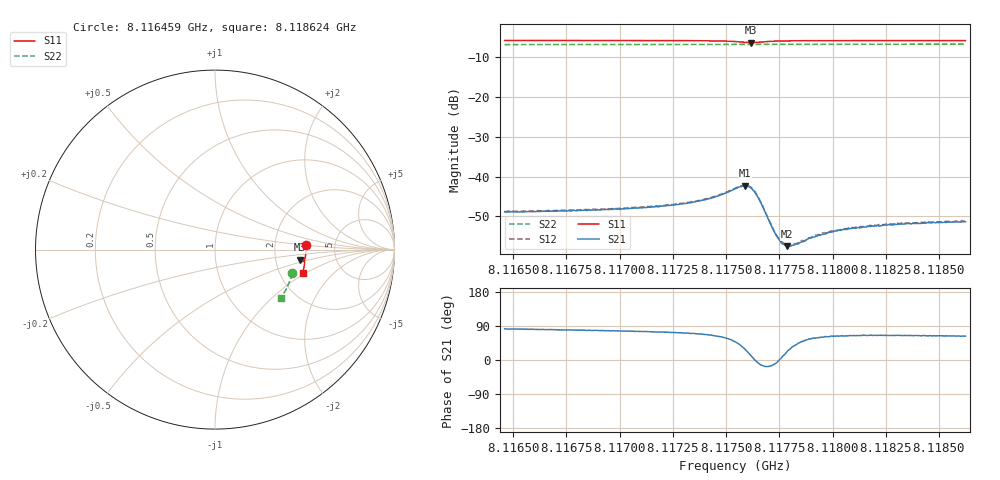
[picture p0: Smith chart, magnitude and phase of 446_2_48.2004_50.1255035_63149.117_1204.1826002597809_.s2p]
#  HZ  S  RI  R  50.00
! Rohde & Schwarz Vector Network Analyzer
! Rohde-Schwarz,ZNB20-2Port,1311601062101988,3.16
! Created: UTC 3/20/2024, 11:56:02 AM
! freq[Hz]  re:S11  im:S11  re:S21  im:S21  re:S12  im:S12  re:S22  im:S22
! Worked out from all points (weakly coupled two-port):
!   401 points, 8.116459 GHz to 8.118624 GHz, reference 50 ohm
!   highest |S21| = -42.29 dB at 8.117591 GHz (marker M1); lowest = -57.4 dB at 8.117785 GHz (marker M2)
!   lowest |S11| = -6.4 dB at 8.117618 GHz (marker M3), VSWR 2.82, Z = 138 - j19.8 ohm
!   |S11| at or under -10 dB: nowhere
!   |S22| runs from -6.9 to -6.8 dB; largest |S21 - S12| = 0.00019
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8.1164595e9  0.5067 0.0247  0.00048 0.00359  0.00056 0.0036  0.4302 -0.1323
8.1168221e9  0.5067 -0.00317  0.000723 0.00369  0.000789 0.00372  0.4231 -0.1565
8.1171847e9  0.5046 -0.0319  0.00117 0.00402  0.00121 0.00413  0.4145 -0.1802
8.1172929e9  0.5032 -0.0413  0.00143 0.00431  0.00148 0.00435  0.4115 -0.1875
8.1173849e9  0.5012 -0.05  0.00185 0.00469  0.00194 0.00474  0.4089 -0.1933
8.1174553e9  0.498 -0.0572  0.00255 0.00502  0.00257 0.0051  0.4069 -0.198
8.1175419e9  0.4878 -0.066  0.00466 0.00525  0.00476 0.0053  0.404 -0.2034
8.1175906e9  0.4765 -0.0635  0.00682 0.00354  0.00699 0.00355  0.4022 -0.2061
8.1176176e9  0.4736 -0.0555  0.00704 0.00134  0.00721 0.00132  0.4015 -0.2074
8.1176339e9  0.4756 -0.0505  0.00643 9.09e-05  0.00659 1.04e-05  0.4012 -0.2081
8.1176555e9  0.4808 -0.0468  0.00508 -0.000891  0.00514 -0.000941  0.4008 -0.2094
8.1177151e9  0.4933 -0.0505  0.00227 -0.000599  0.00233 -0.00062  0.3996 -0.2132
8.1177367e9  0.4956 -0.0534  0.00179 -0.000239  0.00184 -0.000245  0.399 -0.2146
8.1177638e9  0.4972 -0.0571  0.00143 0.000214  0.0015 0.000186  0.3984 -0.2166
8.1177854e9  0.4981 -0.0599  0.00125 0.000487  0.00133 0.000452  0.3976 -0.2178
8.1178179e9  0.4988 -0.0636  0.00111 0.000824  0.00114 0.000886  0.3967 -0.2201
8.1179045e9  0.4991 -0.0727  0.000945 0.00146  0.000984 0.00146  0.3938 -0.2257
8.1179911e9  0.4983 -0.0806  0.000914 0.00178  0.000988 0.00182  0.391 -0.2311
8.1180398e9  0.4978 -0.0847  0.000934 0.0019  0.000943 0.00195  0.3894 -0.2339
8.1181859e9  0.4958 -0.0966  0.00103 0.00219  0.00108 0.00221  0.3845 -0.243
8.1182671e9  0.4947 -0.1029  0.00107 0.00228  0.00111 0.00228  0.3815 -0.248
8.1186243e9  0.4882 -0.1295  0.00124 0.00242  0.00127 0.00247  0.3681 -0.2692
